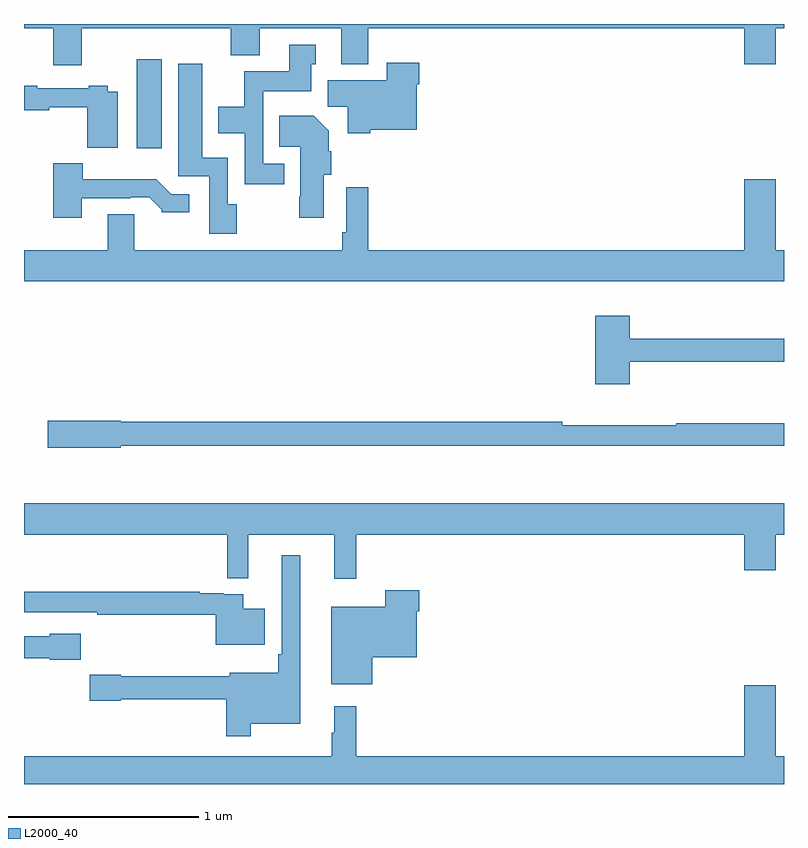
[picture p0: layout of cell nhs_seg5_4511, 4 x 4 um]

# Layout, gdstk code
import gdstk
lib = gdstk.Library(unit=1e-6, precision=1e-09)
def R(c, l, rs):  # rectangles x0, y0, x1, y1
    for r in rs: c.add(gdstk.rectangle(r[:2], r[2:], *l))
def P(c, l, *ps):  # polygons
    for p in ps: c.add(gdstk.Polygon(p, *l))
L2000_40 = (2000, 40)

nhs_seg5_4511 = lib.new_cell('nhs_seg5_4511')
R(nhs_seg5_4511, L2000_40, [(377.594,840.144,377.725,840.613)])
P(nhs_seg5_4511, L2000_40, [(377.305,840.776),(378.089,840.776),(378.089,840.635),(378.241,840.635),(378.241,840.776),(378.671,840.776),(378.671,840.587),(378.811,840.587),(378.811,840.776),(380.792,840.776),(380.792,840.588),(380.956,840.588),(380.956,840.776),(381,840.776),(381,840.799),(377,840.799),(377,840.776),(377.153,840.776),(377.153,840.582),(377.305,840.582)],
  [(378.37,840.063),(378.258,840.063),(378.258,840.446),(378.511,840.446),(378.511,840.588),(378.535,840.588),(378.535,840.691),(378.395,840.691),(378.395,840.55),(378.16,840.55),(378.16,840.364),(378.023,840.364),(378.023,840.224),(378.162,840.224),(378.162,839.955),(378.37,839.955)],
  [(378.822,840.242),(379.066,840.242),(379.066,840.482),(379.079,840.482),(379.079,840.595),(378.908,840.595),(378.908,840.502),(378.599,840.502),(378.599,840.364),(378.704,840.364),(378.704,840.224),(378.822,840.224)],
  [(378.12,839.85),(378.072,839.85),(378.072,840.094),(377.938,840.094),(377.938,840.589),(377.813,840.589),(377.813,839.997),(377.976,839.997),(377.976,839.694),(378.12,839.694)],
  [(377.494,840.442),(377.442,840.442),(377.442,840.475),(377.342,840.475),(377.342,840.462),(377.069,840.462),(377.069,840.475),(377,840.475),(377,840.346),(377.134,840.346),(377.134,840.361),(377.332,840.361),(377.332,840.149),(377.494,840.149)],
  [(378.577,840.006),(378.617,840.006),(378.617,840.128),(378.604,840.128),(378.604,840.238),(378.526,840.316),(378.343,840.316),(378.343,840.152),(378.455,840.152),(378.455,839.89),(378.448,839.89),(378.448,839.778),(378.577,839.778)],
  [(377.305,839.883),(377.561,839.883),(377.561,839.886),(377.66,839.886),(377.724,839.822),(377.724,839.807),(377.869,839.807),(377.869,839.904),(377.775,839.904),(377.697,839.983),(377.308,839.983),(377.308,840.067),(377.153,840.067),(377.153,839.778),(377.305,839.778)],
  [(381,839.608),(380.956,839.608),(380.956,839.983),(380.792,839.983),(380.792,839.608),(378.812,839.608),(378.812,839.941),(378.696,839.941),(378.696,839.704),(378.676,839.704),(378.676,839.608),(377.581,839.608),(377.581,839.798),(377.441,839.798),(377.441,839.608),(377,839.608),(377,839.444),(381,839.444)],
  [(380.189,839.022),(381,839.022),(381,839.143),(380.189,839.143),(380.189,839.263),(380.006,839.263),(380.006,838.902),(380.189,838.902)],
  [(377.508,838.578),(381,838.578),(381,838.699),(380.432,838.699),(380.432,838.688),(379.832,838.688),(379.832,838.706),(377.508,838.706),(377.508,838.712),(377.124,838.712),(377.124,838.57),(377.508,838.57)],
  [(378.749,838.112),(380.792,838.112),(380.792,837.924),(380.956,837.924),(380.956,838.112),(381,838.112),(381,838.276),(377,838.276),(377,838.112),(378.07,838.112),(378.07,837.883),(378.179,837.883),(378.179,838.112),(378.632,838.112),(378.632,837.879),(378.749,837.879)],
  [(378.193,837.116),(378.454,837.116),(378.454,838.003),(378.357,838.003),(378.357,837.481),(378.337,837.481),(378.337,837.385),(378.083,837.385),(378.083,837.367),(377.508,837.367),(377.508,837.375),(377.346,837.375),(377.346,837.238),(377.508,837.238),(377.508,837.246),(378.064,837.246),(378.064,837.051),(378.193,837.051)],
  [(378.832,837.467),(379.066,837.467),(379.066,837.707),(379.079,837.707),(379.079,837.82),(378.901,837.82),(378.901,837.733),(378.617,837.733),(378.617,837.323),(378.832,837.323)],
  [(378.268,837.721),(378.154,837.721),(378.154,837.798),(378.05,837.798),(378.05,837.804),(377.924,837.804),(377.924,837.811),(377,837.811),(377,837.702),(377.386,837.702),(377.386,837.69),(378.008,837.69),(378.008,837.533),(378.268,837.533)],
  [(377.299,837.589),(377.136,837.589),(377.136,837.576),(377,837.576),(377,837.46),(377.136,837.46),(377.136,837.452),(377.299,837.452)],
  [(381,836.944),(380.956,836.944),(380.956,837.319),(380.792,837.319),(380.792,836.944),(378.749,836.944),(378.749,837.208),(378.632,837.208),(378.632,837.068),(378.621,837.068),(378.621,836.944),(377,836.944),(377,836.799),(381,836.799)])

lib.write_gds('nhs_seg5_4511.gds')
